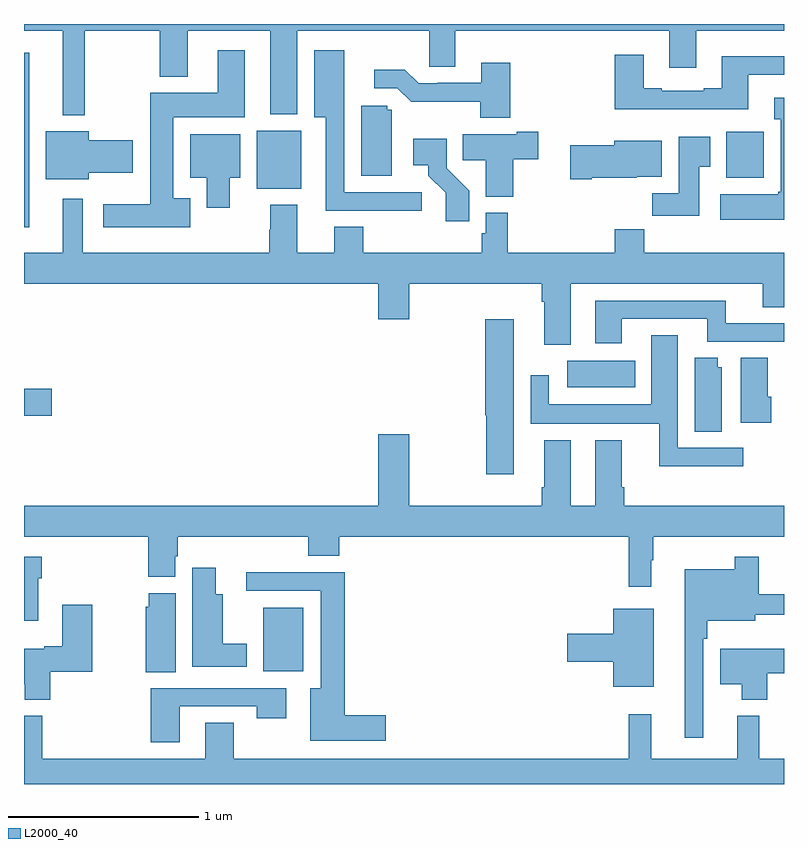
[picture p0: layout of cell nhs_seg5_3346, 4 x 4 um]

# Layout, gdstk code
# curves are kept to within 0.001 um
import gdstk
lib = gdstk.Library(unit=1e-6, precision=1e-09)
def R(c, l, rs):  # rectangles x0, y0, x1, y1
    for r in rs: c.add(gdstk.rectangle(r[:2], r[2:], *l))
def P(c, l, *ps):  # polygons
    for p in ps: c.add(gdstk.Polygon(p, *l))
L2000_40 = (2000, 40)

nhs_seg5_3346 = lib.new_cell('nhs_seg5_3346')
R(nhs_seg5_3346, L2000_40, [(308.258,849.392,308.47,849.727), (307,850.738,307.147,850.88), (309.858,850.886,310.216,851.026), (307,851.729,307.027,852.649), (308.225,851.933,308.458,852.238), (310.697,851.99,310.894,852.232)])
P(nhs_seg5_3346, L2000_40, [(307.861,852.764),(308.297,852.764),(308.297,852.323),(308.437,852.323),(308.437,852.764),(309.132,852.764),(309.132,852.574),(309.271,852.574),(309.271,852.764),(310.397,852.764),(310.397,852.57),(310.537,852.57),(310.537,852.764),(311,852.764),(311,852.799),(307,852.799),(307,852.764),(307.205,852.764),(307.205,852.32),(307.319,852.32),(307.319,852.764),(307.714,852.764),(307.714,852.521),(307.861,852.521)],
  [(307.876,851.881),(307.786,851.881),(307.786,852.308),(308.161,852.308),(308.161,852.661),(308.021,852.661),(308.021,852.436),(307.664,852.436),(307.664,851.851),(307.416,851.851),(307.416,851.729),(307.876,851.729)],
  [(309.094,851.913),(308.685,851.913),(308.685,852.412),(308.686,852.412),(308.686,852.661),(308.528,852.661),(308.528,852.308),(308.588,852.308),(308.588,851.817),(308.869,851.817),(308.869,851.815),(309.094,851.815)],
  [(310.813,852.531),(311,852.531),(311,852.628),(310.673,852.628),(310.673,852.46),(310.577,852.46),(310.577,852.447),(310.357,852.447),(310.357,852.46),(310.261,852.46),(310.261,852.637),(310.109,852.637),(310.109,852.35),(310.813,852.35)],
  [(309.559,852.595),(309.407,852.595),(309.407,852.489),(309.178,852.489),(309.178,852.486),(309.078,852.486),(309.005,852.559),(308.844,852.559),(308.844,852.462),(308.964,852.462),(309.037,852.389),(309.4,852.39),(309.4,852.305),(309.559,852.305)],
  [(311,852.412),(310.949,852.412),(310.949,852.299),(310.982,852.299),(310.982,851.916),(310.969,851.916),(310.969,851.902),(310.665,851.902),(310.665,851.768),(311,851.768)],
  [(308.935,852.348),(308.913,852.348),(308.913,852.369),(308.774,852.369),(308.774,852),(308.935,852)],
  [(307.342,852.017),(307.573,852.017),(307.573,852.188),(307.342,852.188),(307.342,852.235),(307.115,852.235),(307.115,851.981),(307.342,851.981)],
  [(309.576,852.086),(309.706,852.086),(309.706,852.232),(309.593,852.232),(309.593,852.22),(309.31,852.22),(309.31,852.082),(309.431,852.082),(309.431,851.891),(309.576,851.891)],
  [(308.083,851.99),(308.137,851.99),(308.137,852.22),(307.874,852.22),(307.874,851.99),(307.961,851.99),(307.961,851.832),(308.083,851.832)],
  [(310.555,852.049),(310.612,852.049),(310.612,852.205),(310.445,852.205),(310.445,851.908),(310.306,851.908),(310.306,851.79),(310.555,851.79)],
  [(309.344,851.922),(309.225,852.041),(309.225,852.196),(309.048,852.196),(309.048,852.056),(309.128,852.056),(309.128,852.001),(309.219,851.911),(309.219,851.76),(309.344,851.76)],
  [(309.988,851.99),(310.224,851.99),(310.224,851.996),(310.357,851.996),(310.357,852.184),(310.106,852.184),(310.106,852.161),(309.876,852.161),(309.876,851.983),(309.988,851.983)],
  [(309.877,851.432),(310.889,851.432),(310.889,851.308),(311,851.308),(311,851.596),(310.265,851.596),(310.265,851.72),(310.109,851.72),(310.109,851.596),(309.545,851.596),(309.545,851.806),(309.429,851.806),(309.429,851.697),(309.409,851.697),(309.409,851.596),(308.786,851.596),(308.786,851.732),(308.633,851.732),(308.633,851.596),(308.437,851.596),(308.437,851.848),(308.297,851.848),(308.297,851.717),(308.29,851.717),(308.29,851.596),(307.309,851.596),(307.309,851.878),(307.205,851.878),(307.205,851.596),(307,851.596),(307,851.432),(308.864,851.432),(308.864,851.244),(309.028,851.244),(309.028,851.432),(309.725,851.432),(309.725,851.336),(309.737,851.336),(309.737,851.112),(309.877,851.112)],
  [(310.147,851.247),(310.595,851.247),(310.595,851.127),(311,851.127),(311,851.223),(310.694,851.223),(310.694,851.343),(310.007,851.343),(310.007,851.118),(310.147,851.118)],
  [(309.577,851.245),(309.428,851.245),(309.428,850.74),(309.433,850.74),(309.433,850.428),(309.577,850.428)],
  [(310.786,850.569),(310.441,850.569),(310.441,851.162),(310.301,851.162),(310.301,850.798),(309.762,850.798),(309.762,850.951),(309.666,850.951),(309.666,850.694),(310.343,850.694),(310.343,850.472),(310.786,850.472)],
  [(310.672,850.992),(310.651,850.992),(310.651,851.042),(310.529,851.042),(310.529,850.654),(310.672,850.654)],
  [(310.933,850.836),(310.915,850.836),(310.915,851.042),(310.772,851.042),(310.772,850.7),(310.933,850.7)],
  [(310.3,849.977),(310.312,849.977),(310.312,850.1),(311,850.1),(311,850.264),(310.16,850.264),(310.16,850.36),(310.147,850.36),(310.147,850.609),(310.007,850.609),(310.007,850.264),(309.877,850.264),(309.877,850.609),(309.737,850.609),(309.737,850.36),(309.725,850.36),(309.725,850.264),(309.028,850.264),(309.028,850.639),(308.864,850.639),(308.864,850.264),(307,850.264),(307,850.1),(307.655,850.1),(307.655,849.889),(307.795,849.889),(307.795,849.999),(307.808,849.999),(307.808,850.1),(308.495,850.1),(308.495,850.001),(308.66,850.001),(308.66,850.1),(310.183,850.1),(310.183,849.837),(310.3,849.837)],
  [(310.575,849.563),(310.595,849.563),(310.595,849.659),(310.849,849.659),(310.849,849.689),(311,849.689),(311,849.799),(310.868,849.799),(310.868,849.994),(310.74,849.994),(310.74,849.928),(310.478,849.928),(310.478,849.042),(310.575,849.042)],
  [(307.074,849.881),(307.094,849.881),(307.094,849.994),(307,849.994),(307,849.659),(307.074,849.659)],
  [(308.173,849.538),(308.047,849.538),(308.047,849.799),(308.008,849.799),(308.008,849.937),(307.886,849.937),(307.886,849.416),(308.173,849.416)],
  [(308.905,849.161),(308.687,849.161),(308.687,849.914),(308.169,849.914),(308.169,849.816),(308.561,849.816),(308.561,849.304),(308.507,849.304),(308.507,849.026),(308.905,849.026)],
  [(307.798,849.804),(307.657,849.804),(307.657,849.732),(307.64,849.732),(307.64,849.388),(307.798,849.388)],
  [(307.139,849.389),(307.36,849.389),(307.36,849.742),(307.202,849.742),(307.202,849.524),(307.106,849.524),(307.106,849.511),(307,849.511),(307,849.323),(307.004,849.323),(307.004,849.242),(307.139,849.242)],
  [(310.315,849.721),(310.1,849.721),(310.1,849.59),(309.858,849.59),(309.858,849.443),(310.1,849.443),(310.1,849.311),(310.315,849.311)],
  [(310.913,849.382),(311,849.382),(311,849.511),(310.664,849.511),(310.664,849.323),(310.778,849.323),(310.778,849.242),(310.913,849.242)],
  [(307.819,849.207),(308.224,849.207),(308.224,849.144),(308.38,849.144),(308.38,849.303),(307.667,849.303),(307.667,849.018),(307.819,849.018)],
  [(311,848.932),(310.871,848.932),(310.871,849.157),(310.754,849.157),(310.754,848.932),(310.301,848.932),(310.301,849.166),(310.183,849.166),(310.183,848.932),(308.103,848.932),(308.103,849.122),(307.955,849.122),(307.955,848.932),(307.097,848.932),(307.097,849.157),(307,849.157),(307,848.799),(311,848.799)])

lib.write_gds('nhs_seg5_3346.gds')
